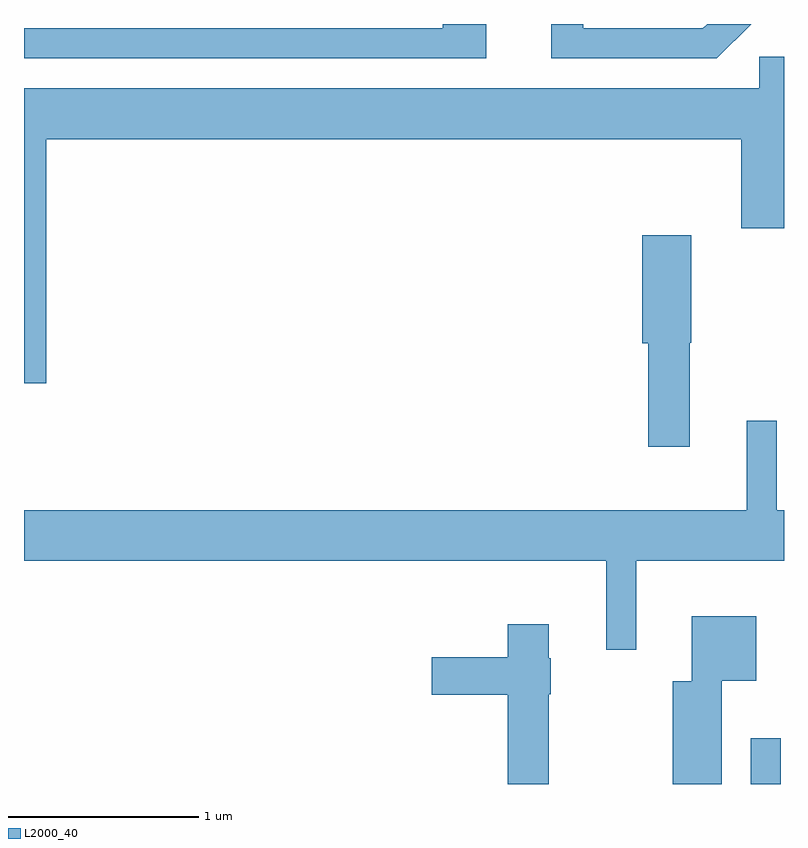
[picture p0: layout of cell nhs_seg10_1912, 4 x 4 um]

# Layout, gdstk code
import gdstk
lib = gdstk.Library(unit=1e-6, precision=1e-09)
def R(c, l, rs):  # rectangles x0, y0, x1, y1
    for r in rs: c.add(gdstk.rectangle(r[:2], r[2:], *l))
def P(c, l, *ps):  # polygons
    for p in ps: c.add(gdstk.Polygon(p, *l))
L2000_40 = (2000, 40)

nhs_seg10_1912 = lib.new_cell('nhs_seg10_1912')
R(nhs_seg10_1912, L2000_40, [(245.436,2110.522,245.594,2110.763)])
P(nhs_seg10_1912, L2000_40, [(245.438,2114.522),(245.207,2114.522),(245.184,2114.499),(244.554,2114.499),(244.554,2114.522),(244.386,2114.522),(244.386,2114.341),(245.257,2114.341)],
  [(244.044,2114.522),(243.816,2114.522),(243.816,2114.499),(241.611,2114.499),(241.611,2114.341),(244.044,2114.341)],
  [(241.729,2113.916),(245.386,2113.916),(245.386,2113.446),(245.611,2113.446),(245.611,2114.349),(245.481,2114.349),(245.481,2114.184),(241.611,2114.184),(241.611,2112.631),(241.729,2112.631)],
  [(245.114,2112.845),(245.124,2112.845),(245.124,2113.409),(244.866,2113.409),(244.866,2112.841),(244.896,2112.841),(244.896,2112.296),(245.114,2112.296)],
  [(244.834,2111.696),(245.611,2111.696),(245.611,2111.964),(245.574,2111.964),(245.574,2112.433),(245.416,2112.433),(245.416,2111.964),(241.611,2111.964),(241.611,2111.696),(244.676,2111.696),(244.676,2111.228),(244.834,2111.228)],
  [(245.284,2111.066),(245.464,2111.066),(245.464,2111.404),(245.126,2111.404),(245.126,2111.064),(245.026,2111.064),(245.026,2110.522),(245.284,2110.522)],
  [(244.374,2110.995),(244.384,2110.995),(244.384,2111.185),(244.374,2111.185),(244.374,2111.364),(244.156,2111.364),(244.156,2111.189),(243.756,2111.189),(243.756,2110.991),(244.156,2110.991),(244.156,2110.522),(244.374,2110.522)])

lib.write_gds('nhs_seg10_1912.gds')
